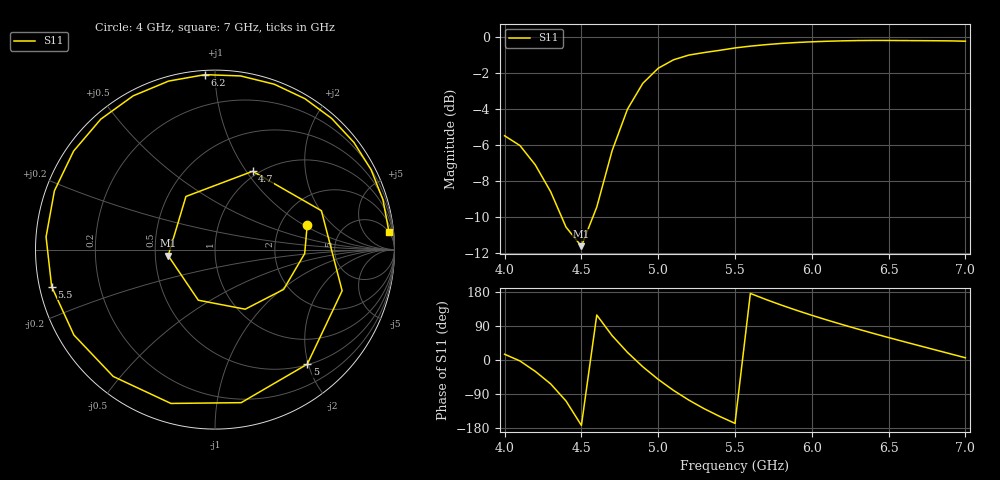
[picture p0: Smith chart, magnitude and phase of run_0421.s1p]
! Touchstone file exported from HFSS 2024.2.0
!  File:  C:/Users/wsak9/Desktop/Sim Fast/Widenad Patch/WP_AI_V1_sweep.aedt
!  Generated:  09:13:34 AM Oct 14, 2026
!  Design:  A1_model
!  Project:  WP_AI_V1_sweep
!  Setup:  Setup1
!  Solution:  Sweep
! Variables:
!  Air_gap = 4.13mm
!  Curve_Amp1 = 1.14
!  Curve_len1 = 1
!  Curve_pos = 13.24mm
!  Extra = 5.92mm
!  H_sub = 0.79mm
!  L_Patch = 22.48mm
!  L_Patch1 = 21.45mm
!  Sx = 2.53mm
!  Sy = 1.29mm
!  WS = 0.78mm
!  W_Patch = 19.46mm
!  W_Patch1 = 15.53mm
!Data is not renormalized
# GHz S MA
! Terminal data exported
! Port[1] = 1
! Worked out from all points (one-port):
!   31 points, 4 GHz to 7 GHz, reference per port
!   lowest |S11| = -11.6 dB at 4.5 GHz (marker M1), VSWR 1.71
!   |S11| at or under -10 dB: 4.372 GHz to 4.574 GHz (201.8 MHz wide, 4.51 % of centre)
!   S11 on the Smith chart (normalised r, x): 4 GHz: 2.80, +1.09; 4.7 GHz: 0.94, +1.07; 5 GHz: 0.51, -1.98; 5.5 GHz: 0.04, -0.11; 6.2 GHz: 0.02, +0.94; 7 GHz: 5, +18
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4  0.5324 15.2
4.1  0.5001 -2.5
4.2  0.4419 -30.1
4.3  0.3722 -63.1
4.4  0.2969 -108.3
4.5  0.263 -172.6
4.6  0.3375 118.7
4.7  0.4841 64.3
4.8  0.6312 20.1
4.9  0.7445 -17.9
5  0.8195 -51.1
5.1  0.8652 -80.3
5.2  0.8916 -106.0
5.3  0.9061 -128.7
5.4  0.9189 -148.8
5.5  0.9331 -167.3
5.6  0.9438 175.7
5.7  0.9528 159.9
5.8  0.9602 145.1
5.9  0.966 131.2
6  0.9704 118.0
6.1  0.9738 105.4
6.2  0.9763 93.3
6.3  0.978 81.6
6.5  0.9787 59.2
6.7  0.9775 37.7
6.9  0.9761 16.5
7  0.9742 5.9
